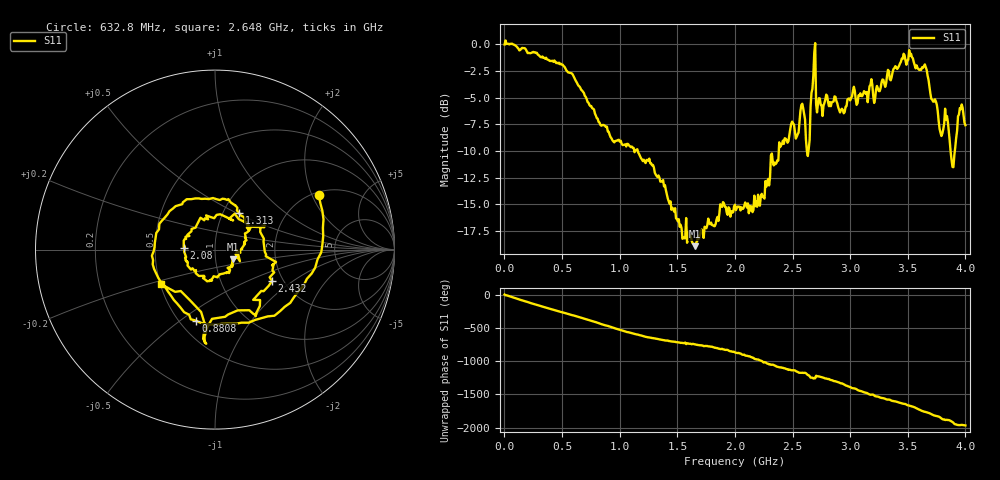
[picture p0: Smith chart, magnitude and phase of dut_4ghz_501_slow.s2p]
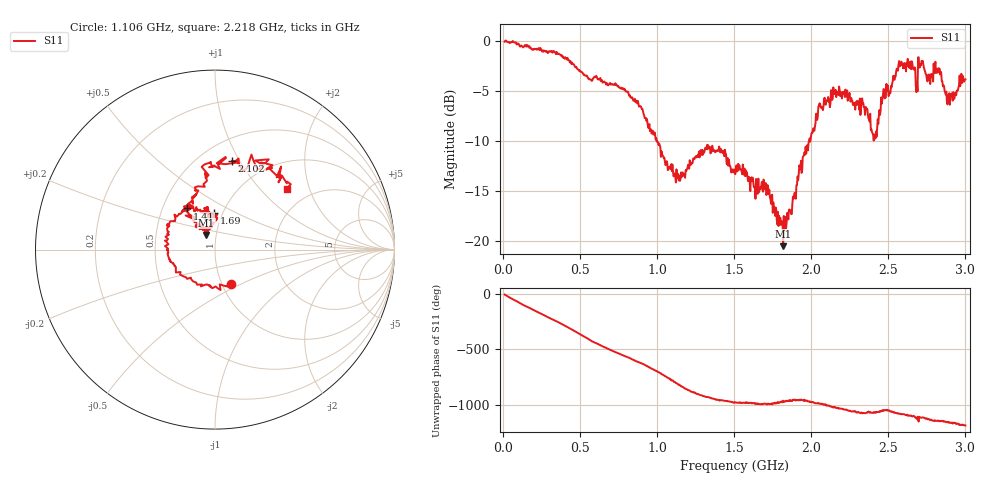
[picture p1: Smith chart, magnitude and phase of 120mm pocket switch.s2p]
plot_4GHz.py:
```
#!/usr/bin/env python3
# -*- coding: utf-8 -*-
"""
Created on Tue Jan 25 19:57:25 2022

@author: tim
"""

import skrf as rf
import matplotlib.pyplot as plt

dut2port = rf.Network('test/dut_4ghz_501_slow.s2p')
dut1port = rf.Network(frequency = dut2port.f, s=dut2port.s[:,0,0], name='dut')

exp2port = rf.Network('test/supplied/120mm pocket switch.s2p')
exp1port = rf.Network(frequency = exp2port.f, s=exp2port.s[:,0,0], name='expected')

plt.figure()
dut1port.plot_s_db()
exp1port.plot_s_db()
plt.savefig('DUT_db.png',dpi=300)
plt.show()

plt.figure()
dut1port.plot_s_deg()
exp1port.plot_s_deg()
plt.savefig('DUT_deg.png',dpi=300)
plt.show()
```
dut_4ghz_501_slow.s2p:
! PocketVna 1.54  pocketvna.com
! Live measurements ((Reflection-S11) Linear 1000000-4000000000/501 calibrated)
# Hz S DB R 50
! Hz  dBS11  <S11  dBS21  <S21  dBS12  <S12  dBS22  <S22
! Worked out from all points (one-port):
!   501 points, 1 MHz to 4 GHz, reference 50 ohm
!   lowest |S11| = -18.9 dB at 1.657 GHz (marker M1), VSWR 1.25, Z = 60.6 - j6.72 ohm
!   |S11| at or under -10 dB: 1.157 GHz to 2.381 GHz (1.224 GHz wide, 69.2 % of centre); 2.624 GHz to 2.638 GHz (13.77 MHz wide, 0.523 % of centre); 3.871 GHz to 3.908 GHz (37.02 MHz wide, 0.952 % of centre)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
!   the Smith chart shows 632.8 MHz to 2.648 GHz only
!   S11 on the Smith chart (normalised r, x): 632.8 MHz: 2.11, +2.25; 880.8 MHz: 0.60, -0.57; 1.313 GHz: 1.19, +0.52; 2.08 GHz: 0.70, +0.02; 2.432 GHz: 1.75, -0.70; 2.648 GHz: 0.50, -0.22
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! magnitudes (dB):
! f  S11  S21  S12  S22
! 1 MHz  0.0  -  -  -
! 632.8 MHz  -3.7  -  -  -
! 880.8 MHz  -7.8  -  -  -
! 1.313 GHz  -12.2  -  -  -
! 1.657 GHz  -18.9  -  -  -
! 2.001 GHz  -15.0  -  -  -
! 2.08 GHz  -15.2  -  -  -
! 2.432 GHz  -8.8  -  -  -
! 2.648 GHz  -8.9  -  -  -
! 3.528 GHz  -0.9  -  -  -
! 4 GHz  -7.6  -  -  -
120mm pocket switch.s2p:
! PocketVna 1.60  pocketvna.com
! Live measurements ((Reflection-S11) Linear 10000000-3000000000/800 calibrated)
# Hz S RI R 50
! Hz  ReS11  ImS11  ReS21  ImS21  ReS12  ImS12  ReS22  ImS22
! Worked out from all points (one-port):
!   800 points, 10 MHz to 3 GHz, reference 50 ohm
!   lowest |S11| = -20.6 dB at 1.817 GHz (marker M1), VSWR 1.21, Z = 44.9 + j7.32 ohm
!   |S11| at or under -10 dB: 997 MHz to 1.985 GHz (988.1 MHz wide, 66.3 % of centre); 1.992345 GHz to 1.994093 GHz (1.748 MHz wide, 0.0877 % of centre)
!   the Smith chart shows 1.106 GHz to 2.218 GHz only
!   S11 on the Smith chart (normalised r, x): 1.106 GHz: 1.10, -0.44; 1.41 GHz: 0.67, +0.33; 1.69 GHz: 0.92, +0.39; 2.102 GHz: 0.70, +0.93; 2.218 GHz: 1.52, +1.43
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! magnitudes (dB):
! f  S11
! 10 MHz  -0.1
! 1.106 GHz  -13.6
! 1.41 GHz  -11.2
! 1.507 GHz  -13.4
! 1.69 GHz  -13.9
! 1.817 GHz  -20.6
! 2.102 GHz  -5.9
! 2.218 GHz  -5.6
! 2.409 GHz  -9.4
! 2.577 GHz  -2.3
! 3 GHz  -3.8
